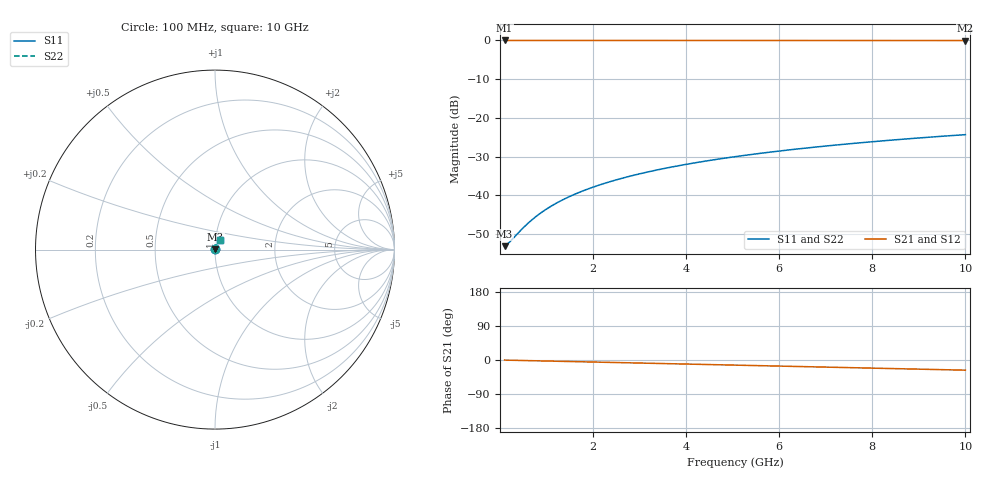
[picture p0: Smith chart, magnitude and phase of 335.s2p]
# Hz S RI R 50.00
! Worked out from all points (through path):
!   100 points, 100 MHz to 10 GHz, reference 50 ohm
!   highest |S21| = -0.02 dB at 100 MHz (marker M1); lowest = 0.0 dB at 10 GHz (marker M2)
!   group delay of S21, straight-line fit = 7.46 ps
!   lowest |S11| = -53.1 dB at 100 MHz (marker M3), VSWR 1.00, Z = 50.2 + j0.0625 ohm
!   |S11| at or under -10 dB: start of sweep to end of sweep
!   |S22| runs from -53.1 to -24.3 dB; largest |S21 - S12| = 0
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1e8  0.00213 0.000622  0.9979 -0.00466  0.9979 -0.00466  0.00213 0.000622
2e8  0.00215 0.00124  0.9978 -0.00931  0.9978 -0.00931  0.00215 0.00124
5e8  0.00223 0.00311  0.9975 -0.0233  0.9975 -0.0233  0.00223 0.00311
6e8  0.00227 0.00373  0.9974 -0.0279  0.9974 -0.0279  0.00227 0.00373
7e8  0.00231 0.00435  0.9973 -0.0326  0.9973 -0.0326  0.00231 0.00435
9e8  0.00241 0.00559  0.9969 -0.0419  0.9969 -0.0419  0.00241 0.00559
1.1e9  0.00253 0.00683  0.9964 -0.0512  0.9964 -0.0512  0.00253 0.00683
1.3e9  0.00268 0.00806  0.9959 -0.0605  0.9959 -0.0605  0.00268 0.00806
1.5e9  0.00284 0.00929  0.9953 -0.0698  0.9953 -0.0698  0.00284 0.00929
1.8e9  0.00314 0.0111  0.9942 -0.0837  0.9942 -0.0837  0.00314 0.0111
2.1e9  0.00348 0.013  0.9928 -0.0977  0.9928 -0.0977  0.00348 0.013
2.5e9  0.00402 0.0154  0.9908 -0.1162  0.9908 -0.1162  0.00402 0.0154
2.9e9  0.00464 0.0178  0.9884 -0.1347  0.9884 -0.1347  0.00464 0.0178
3.4e9  0.00555 0.0207  0.9849 -0.1577  0.9849 -0.1577  0.00555 0.0207
3.8e9  0.00638 0.0231  0.9817 -0.1761  0.9817 -0.1761  0.00638 0.0231
4.2e9  0.00729 0.0254  0.9781 -0.1944  0.9781 -0.1944  0.00729 0.0254
5.1e9  0.00966 0.0304  0.9689 -0.2354  0.9689 -0.2354  0.00966 0.0304
5.9e9  0.0121 0.0347  0.9592 -0.2715  0.9592 -0.2715  0.0121 0.0347
6.7e9  0.0149 0.0389  0.9481 -0.3073  0.9481 -0.3073  0.0149 0.0389
7.5e9  0.018 0.0427  0.9357 -0.3426  0.9357 -0.3426  0.018 0.0427
8.4e9  0.0218 0.0468  0.9201 -0.3817  0.9201 -0.3817  0.0218 0.0468
1e10  0.0294 0.0533  0.8883 -0.4496  0.8883 -0.4496  0.0294 0.0533
